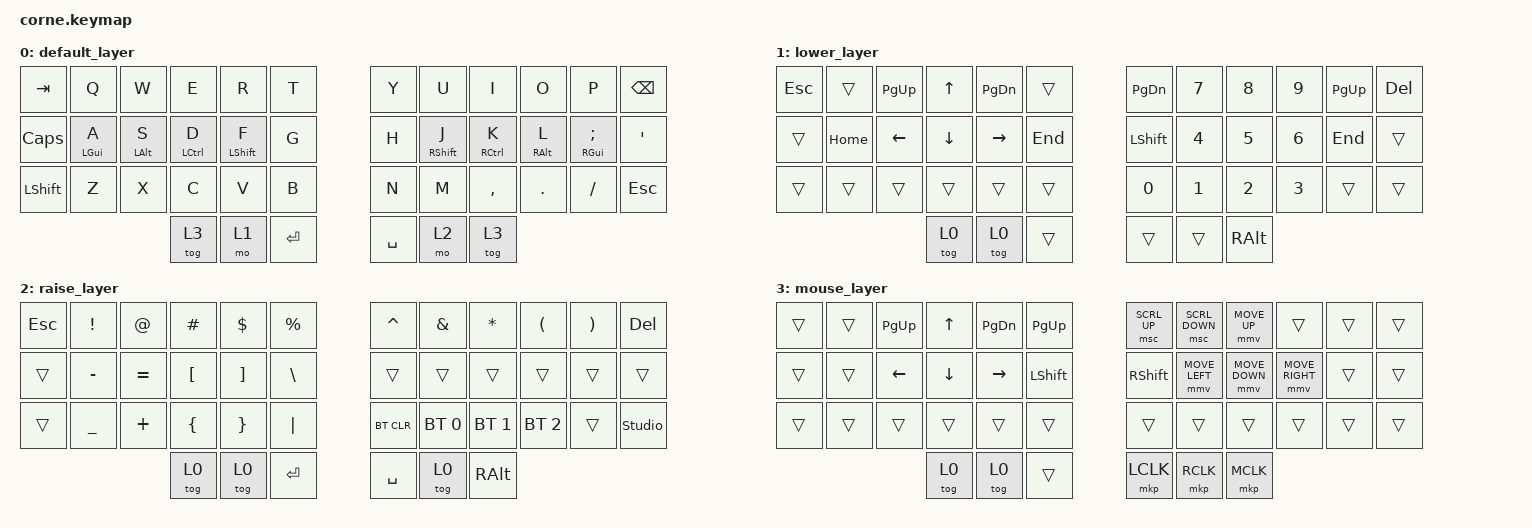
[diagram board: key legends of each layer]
/*
 * Copyright (c) 2020 The ZMK Contributors
 *
 * SPDX-License-Identifier: MIT
 */

#include <dt-bindings/zmk/mouse.h>
#include <behaviors.dtsi>
#include <dt-bindings/zmk/bt.h>
#include <dt-bindings/zmk/keys.h>
#include <dt-bindings/zmk/pointing.h>

/ {
    behaviors {
        // Home row mods configuration
        // Tap = regular key, Hold = modifier

        hm: homerow_mods {
            compatible = "zmk,behavior-hold-tap";
            #binding-cells = <2>;
            flavor = "balanced";
            tapping-term-ms = <200>;
            quick-tap-ms = <175>;
            bindings = <&kp>, <&kp>;
        };
    };

    keymap {
        compatible = "zmk,keymap";

        default_layer {
            // -----------------------------------------------------------------------------------------
            // |  TAB |  Q  |  W  |  E  |  R  |  T  |   |  Y  |  U  |  I  |  O  |  P  | BSPC |
            // | CTRL | A/CG| S/A | D/G | F/SF|  G  |   |  H  | J/SF| K/G | L/A | ;/CG|  '   |
            // | SHFT |  Z  |  X  |  C  |  V  |  B  |   |  N  |  M  |  ,  |  .  |  /  | ESC  |
            //                    | GUI | TOG1| SPC |   | ENT | TOG2| MOUSE|

            bindings = <
&kp TAB    &kp Q           &kp W       &kp E               &kp R        &kp T      &kp Y      &kp U        &kp I                &kp O       &kp P               &kp BSPC
&kp CAPS   &hm LEFT_GUI A  &hm LALT S  &hm LEFT_CONTROL D  &hm LSHFT F  &kp G      &kp H      &hm RSHFT J  &hm RIGHT_CONTROL K  &hm RALT L  &hm RIGHT_GUI SEMI  &kp SQT
&kp LSHFT  &kp Z           &kp X       &kp C               &kp V        &kp B      &kp N      &kp M        &kp COMMA            &kp DOT     &kp FSLH            &kp ESC
                                       &tog 3              &mo 1        &kp RET    &kp SPACE  &mo 2        &tog 3
            >;
        };

        lower_layer {
            // -----------------------------------------------------------------------------------------
            // |  ESC |  1  |  2  |  3  |  4  |  5  |   |  6  |  7  |  8  |  9  |  0  | DEL  |
            // |      | LFT | DWN |  UP | RGT |     |   | HOME| PGDN| PGUP| END |     |      |
            // |      |     |     |     |     |     |   |     |     |     |     |     |      |
            //                    | GUI | TOG0| SPC |   | ENT | ADJ | ALT |

            bindings = <
&kp ESC  &trans    &kp PG_UP       &kp UP    &kp PG_DN  &trans     &kp PAGE_DOWN   &kp N7  &kp N8    &kp N9  &kp PAGE_UP  &kp DEL
&trans   &kp HOME  &kp LEFT_ARROW  &kp DOWN  &kp RIGHT  &kp END    &kp LEFT_SHIFT  &kp N4  &kp N5    &kp N6  &kp END      &trans
&trans   &trans    &trans          &trans    &trans     &trans     &kp N0          &kp N1  &kp N2    &kp N3  &trans       &trans
                                   &tog 0    &tog 0     &trans     &trans          &trans  &kp RALT
            >;
        };

        raise_layer {
            // -----------------------------------------------------------------------------------------
            // |  ESC |  !  |  @  |  #  |  $  |  %  |   |  ^  |  &  |  *  |  (  |  )  | DEL  |
            // |      |  -  |  =  |  [  |  ]  |  \  |   |     |     |     |     |     |      |
            // |      |  _  |  +  |  {  |  }  | "|" |   |     |     |     |     |     |      |
            //                    | GUI | ADJ | SPC |   | ENT | TOG0| ALT |

            bindings = <
&kp ESC  &kp EXCL   &kp AT     &kp HASH  &kp DLLR  &kp PRCNT    &kp CARET   &kp AMPS      &kp ASTRK     &kp LPAR      &kp RPAR  &kp DEL
&trans   &kp MINUS  &kp EQUAL  &kp LBKT  &kp RBKT  &kp BSLH     &trans      &trans        &trans        &trans        &trans    &trans
&trans   &kp UNDER  &kp PLUS   &kp LBRC  &kp RBRC  &kp PIPE     &bt BT_CLR  &bt BT_SEL 0  &bt BT_SEL 1  &bt BT_SEL 2  &trans    &studio_unlock
                               &tog 0    &tog 0    &kp RET      &kp SPACE   &tog 0        &kp RALT
            >;
        };

        mouse_layer {
            // -----------------------------------------------------------------------------------------
            // |      |     | MS_U|     |     |     |   |     |     |     |     |     |      |
            // |      | MS_L| MS_D| MS_R|     |     |   |     | LFT | DWN | RGT |     |      |
            // |      |     |     |     |     |     |   |     |     |     |     |     |      |
            //                    |     |     |     |   | MK1 | MK2 | MK3 |

            bindings = <
&trans  &trans  &kp PAGE_UP  &kp UP    &kp PAGE_DOWN  &kp PG_UP         &msc SCRL_UP     &msc SCRL_DOWN  &mmv MOVE_UP    &trans           &trans  &trans
&trans  &trans  &kp LEFT     &kp DOWN  &kp RIGHT      &kp LEFT_SHIFT    &kp RIGHT_SHIFT  &mmv MOVE_LEFT  &mmv MOVE_DOWN  &mmv MOVE_RIGHT  &trans  &trans
&trans  &trans  &trans       &trans    &trans         &trans            &trans           &trans          &trans          &trans           &trans  &trans
                             &tog 0    &tog 0         &trans            &mkp LCLK        &mkp RCLK       &mkp MCLK
            >;
        };
    };
};
